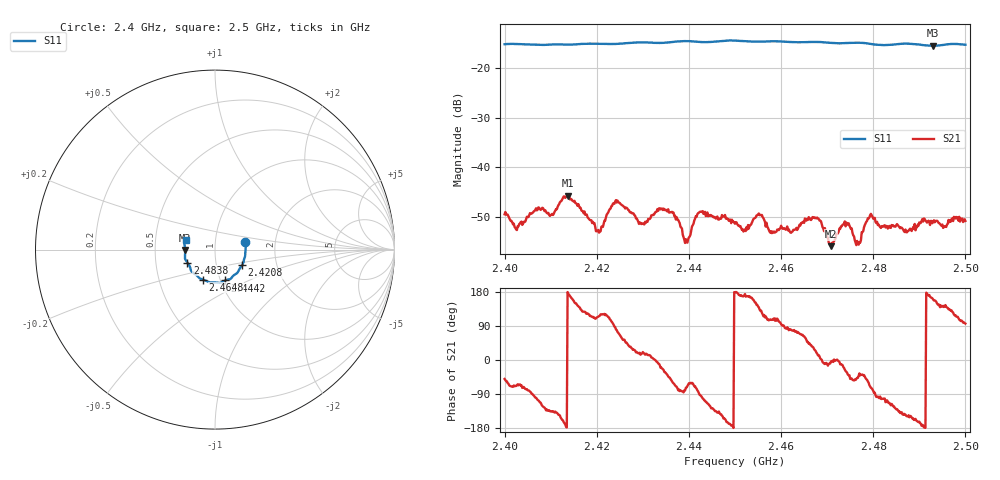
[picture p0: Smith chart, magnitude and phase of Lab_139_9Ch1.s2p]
# Hz S RI R 50
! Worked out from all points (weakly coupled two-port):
!   601 points, 2.4 GHz to 2.5 GHz, reference 50 ohm
!   highest |S21| = -45.69 dB at 2.4137 GHz (marker M1); lowest = -55.8 dB at 2.4708 GHz (marker M2)
!   lowest |S11| = -15.6 dB at 2.493 GHz (marker M3), VSWR 1.40, Z = 35.7 - j0.193 ohm
!   |S11| at or under -10 dB: start of sweep to end of sweep
!   S12 and S22 are empty: the file has one direction only
!   S11 on the Smith chart (normalised r, x): 2.4 GHz: 1.40, +0.12; 2.4208 GHz: 1.33, -0.24; 2.4442 GHz: 1.05, -0.37; 2.4648 GHz: 0.83, -0.29; 2.4838 GHz: 0.73, -0.11; 2.5 GHz: 0.72, +0.08
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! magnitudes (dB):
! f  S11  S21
! 2.4 GHz  -15.3  -49.4
! 2.4027 GHz  -15.2  -52.6
! 2.4137 GHz  -15.3  -45.7
! 2.4167 GHz  -15.2  -48.7
! 2.4208 GHz  -15.2  -52.8
! 2.424 GHz  -15.2  -46.8
! 2.4297 GHz  -14.9  -51.4
! 2.4333 GHz  -15.0  -48.7
! 2.4393 GHz  -14.7  -54.4
! 2.442 GHz  -14.8  -49.2
! 2.4442 GHz  -14.9  -49.8
! 2.45 GHz  -14.6  -51.3
! 2.4648 GHz  -14.9  -50.9
! 2.4667 GHz  -14.8  -50.3
! 2.4708 GHz  -15.0  -55.8
! 2.4742 GHz  -15.0  -51.1
! 2.4768 GHz  -15.0  -55.5
! 2.4793 GHz  -15.2  -49.6
! 2.4833 GHz  -15.4  -51.9
! 2.4838 GHz  -15.4  -52.1
! 2.493 GHz  -15.6  -50.9
! 2.5 GHz  -15.4  -50.7
